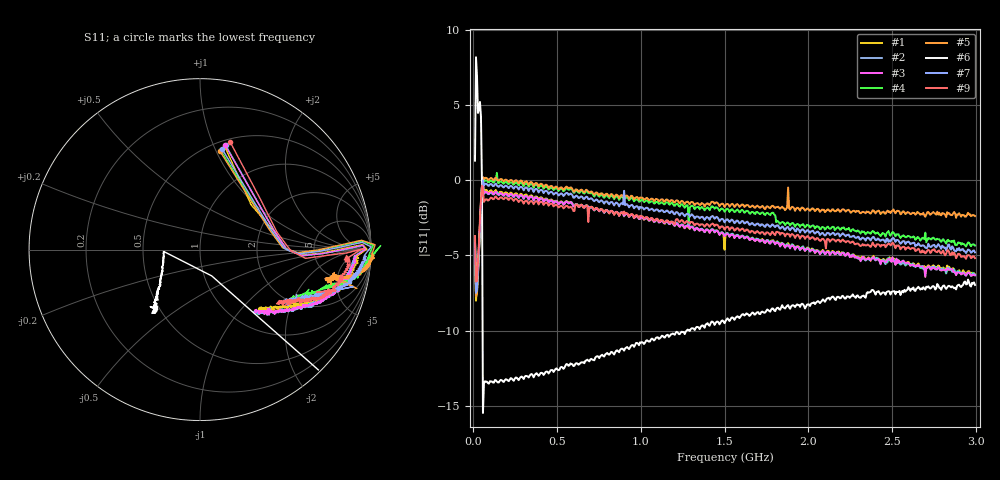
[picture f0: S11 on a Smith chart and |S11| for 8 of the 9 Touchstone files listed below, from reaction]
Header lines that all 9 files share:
# HZ S RI R 50
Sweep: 10 MHz to 2.994 GHz
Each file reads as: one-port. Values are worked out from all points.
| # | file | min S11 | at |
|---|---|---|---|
| 1 | 10-04.s1p | -8.0 dB | 15.93 MHz |
| 2 | 10-11.s1p | -7.1 dB | 15.93 MHz |
| 3 | 10-17.s1p | -7.2 dB | 15.93 MHz |
| 4 | 10ml.s1p | -7.6 dB | 15.93 MHz |
| 5 | acohandpropan2ol.s1p | -7.7 dB | 15.93 MHz |
| 6 | bleach5p.s1p | -15.5 dB | 57.46 MHz |
| 7 | contsweep1.s1p | -7.5 dB | 15.93 MHz |
| 8 | propanolbluecableshort.s1p | -7.7 dB | 15.93 MHz |
| 9 | start.s1p | -6.7 dB | 15.93 MHz |
